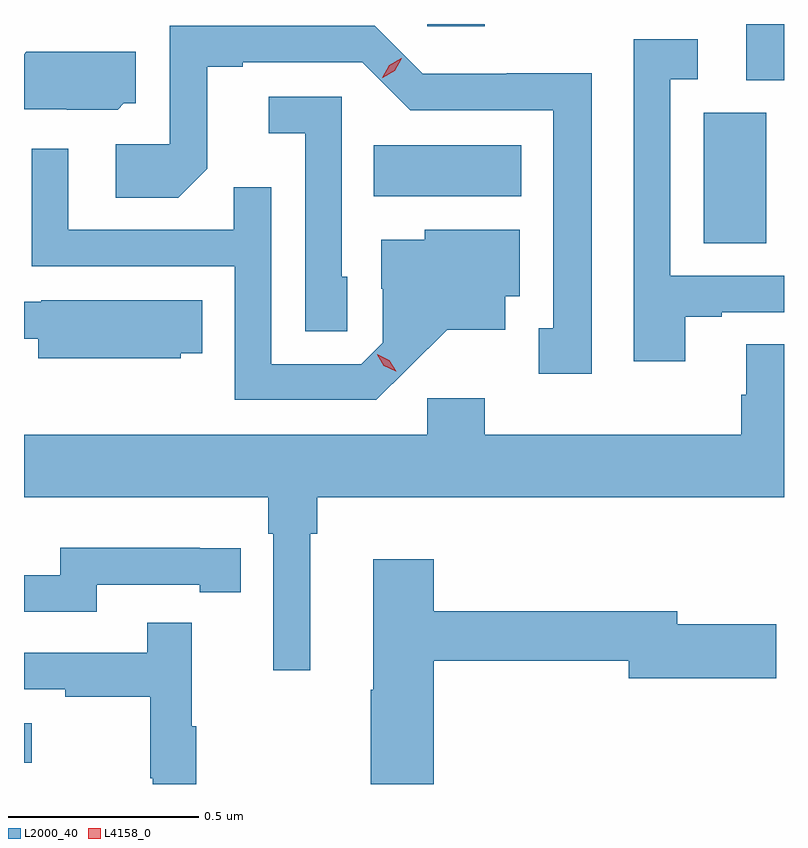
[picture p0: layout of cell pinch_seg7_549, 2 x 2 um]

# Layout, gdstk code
import gdstk
lib = gdstk.Library(unit=1e-6, precision=1e-09)
def R(c, l, rs):  # rectangles x0, y0, x1, y1
    for r in rs: c.add(gdstk.rectangle(r[:2], r[2:], *l))
def P(c, l, *ps):  # polygons
    for p in ps: c.add(gdstk.Polygon(p, *l))
L2000_40 = (2000, 40)
L4158_0 = (4158, 0)

pinch_seg7_549 = lib.new_cell('pinch_seg7_549')
R(pinch_seg7_549, L2000_40, [(150.877,1065.185,150.898,1065.289), (152.666,1066.552,152.83,1066.896), (151.798,1066.676,152.185,1066.81), (152.777,1066.981,152.877,1067.129), (151.938,1067.123,152.09,1067.129)])
P(pinch_seg7_549, L2000_40, [(152.371,1067),(152.148,1067),(152.148,1066.998),(151.926,1066.998),(151.8,1067.124),(151.26,1067.124),(151.26,1066.812),(151.119,1066.812),(151.119,1066.672),(151.283,1066.672),(151.359,1066.748),(151.359,1067.016),(151.453,1067.016),(151.453,1067.028),(151.767,1067.028),(151.893,1066.902),(152.27,1066.902),(152.27,1066.329),(152.231,1066.329),(152.231,1066.209),(152.371,1066.209)],
  [(152.617,1066.359),(152.713,1066.359),(152.713,1066.371),(152.877,1066.371),(152.877,1066.467),(152.577,1066.467),(152.577,1066.983),(152.65,1066.983),(152.65,1067.089),(152.481,1067.089),(152.481,1066.242),(152.617,1066.242)],
  [(151.14,1066.92),(151.171,1066.92),(151.171,1067.056),(150.883,1067.056),(150.877,1067.05),(150.877,1066.905),(150.99,1066.905),(150.99,1066.904),(151.124,1066.904)],
  [(151.728,1066.464),(151.713,1066.464),(151.713,1066.938),(151.521,1066.938),(151.521,1066.841),(151.617,1066.841),(151.617,1066.321),(151.728,1066.321)],
  [(151.888,1066.223),(151.991,1066.325),(152.143,1066.325),(152.143,1066.412),(152.182,1066.412),(152.182,1066.588),(151.932,1066.588),(151.932,1066.561),(151.817,1066.561),(151.817,1066.432),(151.821,1066.432),(151.821,1066.29),(151.764,1066.233),(151.527,1066.233),(151.527,1066.7),(151.429,1066.7),(151.429,1066.587),(150.993,1066.587),(150.993,1066.801),(150.897,1066.801),(150.897,1066.491),(151.431,1066.491),(151.431,1066.14),(151.804,1066.14)],
  [(151.29,1066.262),(151.346,1066.262),(151.346,1066.402),(150.922,1066.402),(150.922,1066.398),(150.877,1066.398),(150.877,1066.301),(150.914,1066.301),(150.914,1066.25),(151.29,1066.25)],
  [(151.63,1065.788),(151.649,1065.788),(151.649,1065.884),(152.877,1065.884),(152.877,1066.286),(152.777,1066.286),(152.777,1066.154),(152.765,1066.154),(152.765,1066.048),(152.09,1066.048),(152.09,1066.144),(151.938,1066.144),(151.938,1066.048),(150.877,1066.048),(150.877,1065.884),(151.52,1065.884),(151.52,1065.788),(151.533,1065.788),(151.533,1065.429),(151.63,1065.429)],
  [(151.068,1065.654),(151.34,1065.654),(151.34,1065.634),(151.448,1065.634),(151.448,1065.75),(151.34,1065.75),(151.34,1065.751),(150.972,1065.751),(150.972,1065.678),(150.877,1065.678),(150.877,1065.582),(151.068,1065.582)],
  [(151.955,1065.454),(152.468,1065.454),(152.468,1065.407),(152.857,1065.407),(152.857,1065.549),(152.596,1065.549),(152.596,1065.583),(151.955,1065.583),(151.955,1065.721),(151.796,1065.721),(151.796,1065.377),(151.789,1065.377),(151.789,1065.129),(151.955,1065.129)],
  [(151.33,1065.281),(151.319,1065.281),(151.319,1065.553),(151.201,1065.553),(151.201,1065.474),(150.877,1065.474),(150.877,1065.378),(150.985,1065.378),(150.985,1065.358),(151.209,1065.358),(151.209,1065.144),(151.216,1065.144),(151.216,1065.129),(151.33,1065.129)])
P(pinch_seg7_549, L4158_0, [(151.82,1066.988),(151.82,1066.988),(151.838,1067.02),(151.87,1067.039),(151.871,1067.039),(151.871,1067.039),(151.853,1067.006),(151.821,1066.988)],
  [(151.855,1066.215),(151.824,1066.23),(151.806,1066.259),(151.806,1066.26),(151.807,1066.26),(151.838,1066.244),(151.856,1066.215),(151.856,1066.215)])

lib.write_gds('pinch_seg7_549.gds')
